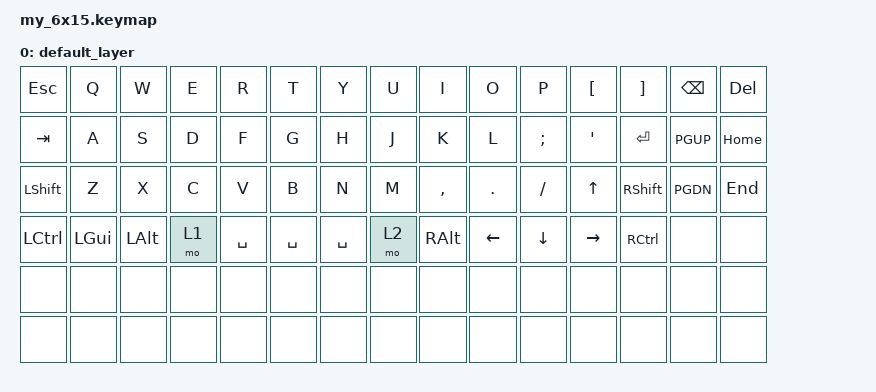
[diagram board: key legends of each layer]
/ {
    keymap {
        compatible = "zmk,keymap";

        default_layer {
            bindings = <
                &kp ESC     &kp Q &kp W &kp E &kp R &kp T &kp Y &kp U &kp I &kp O &kp P &kp LBKT &kp RBKT &kp BSPC &kp DEL
                &kp TAB     &kp A &kp S &kp D &kp F &kp G &kp H &kp J &kp K &kp L &kp SEMI &kp SQT  &kp ENTER &kp PGUP &kp HOME
                &kp LSHIFT  &kp Z &kp X &kp C &kp V &kp B &kp N &kp M &kp COMMA &kp DOT &kp FSLH &kp UP   &kp RSHIFT &kp PGDN &kp END
                &kp LCTRL   &kp LGUI &kp LALT &mo 1 &kp SPACE &kp SPACE &kp SPACE &mo 2 &kp RALT &kp LEFT &kp DOWN &kp RIGHT &kp RCTRL &none &none
                &none &none &none &none &none &none &none &none &none &none &none &none &none &none &none
                &none &none &none &none &none &none &none &none &none &none &none &none &none &none &none
/ {
    keymap {
        compatible = "zmk,keymap";

        default_layer {
            bindings = <
                &kp ESC     &kp Q &kp W &kp E &kp R &kp T &kp Y &kp U &kp I &kp O &kp P &kp LBKT &kp RBKT &kp BSPC &kp DEL
                &kp TAB     &kp A &kp S &kp D &kp F &kp G &kp H &kp J &kp K &kp L &kp SEMI &kp SQT  &kp ENTER &kp PGUP &kp HOME
                &kp LSHIFT  &kp Z &kp X &kp C &kp V &kp B &kp N &kp M &kp COMMA &kp DOT &kp FSLH &kp UP   &kp RSHIFT &kp PGDN &kp END
                &kp LCTRL   &kp LGUI &kp LALT &mo 1 &kp SPACE &kp SPACE &kp SPACE &mo 2 &kp RALT &kp LEFT &kp DOWN &kp RIGHT &kp RCTRL &none &none
                &none &none &none &none &none &none &none &none &none &none &none &none &none &none &none
                &none &none &none &none &none &none &none &none &none &none &none &none &none &none &none
            >;
        };
    };
};
            >;
        };
    };
};
